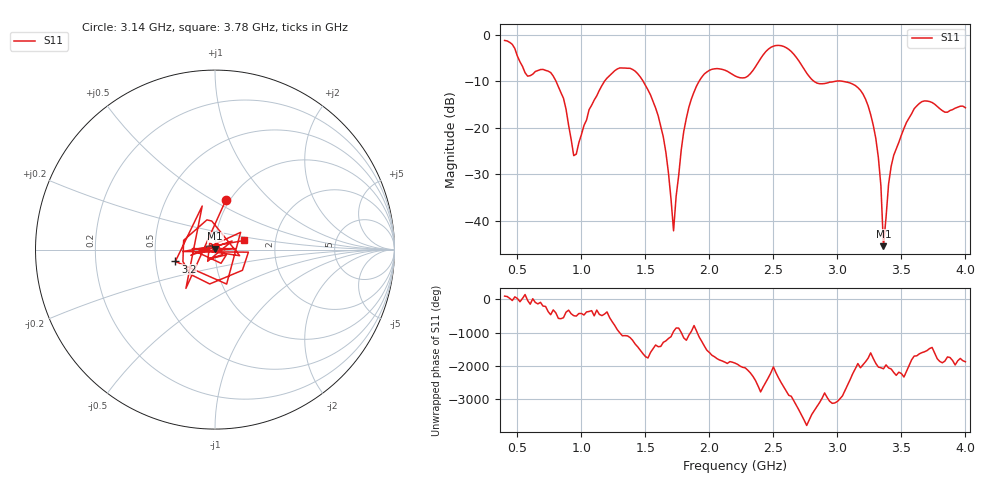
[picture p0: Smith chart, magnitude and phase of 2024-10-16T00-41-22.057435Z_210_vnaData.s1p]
! Created with skrf (http://scikit-rf.org).
# Hz S RI R 50.0
!freq ReS11 ImS11
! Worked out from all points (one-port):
!   181 points, 400 MHz to 4 GHz, reference 50 ohm
!   lowest |S11| = -45.5 dB at 3.36 GHz (marker M1), VSWR 1.01, Z = 50.1 + j0.517 ohm
!   |S11| at or under -10 dB: 801.7 MHz to 1.18 GHz (378.8 MHz wide, 38.2 % of centre); 1.482 GHz to 1.919 GHz (437 MHz wide, 25.7 % of centre); 3.039 GHz to end of sweep (the widest 3 of 4)
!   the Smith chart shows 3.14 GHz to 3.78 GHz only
!   S11 on the Smith chart (normalised r, x): 3.14 GHz: 0.96, +0.58; 3.2 GHz: 0.63, -0.09; 3.78 GHz: 1.38, +0.14
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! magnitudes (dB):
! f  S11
! 400 MHz  -1.2
! 580 MHz  -8.9
! 760 MHz  -8.1
! 860 MHz  -13.7
! 940 MHz  -26.0
! 1.06 GHz  -16.1
! 1.3 GHz  -7.1
! 1.44 GHz  -8.4
! 1.58 GHz  -15.8
! 1.66 GHz  -25.3
! 1.72 GHz  -42.2
! 1.76 GHz  -30.3
! 1.82 GHz  -18.0
! 1.92 GHz  -10.0
! 2.2 GHz  -8.9
! 2.5 GHz  -2.4
! 2.66 GHz  -4.2
! 2.84 GHz  -10.4
! 3.1 GHz  -10.4
! 3.14 GHz  -10.9
! 3.2 GHz  -12.8
! 3.3 GHz  -22.3
! 3.34 GHz  -32.5
! 3.36 GHz  -45.5
! 3.42 GHz  -28.3
! 3.56 GHz  -17.9
! 3.78 GHz  -15.4
! 4 GHz  -15.7
